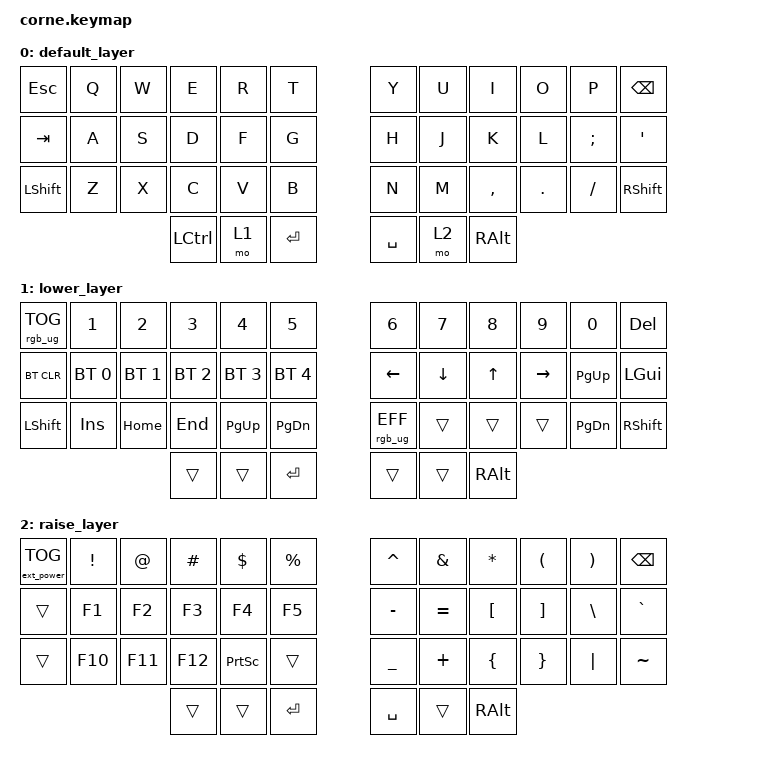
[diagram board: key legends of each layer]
/*
 * Copyright (c) 2020 The ZMK Contributors
 *
 * SPDX-License-Identifier: MIT
 */

#include <behaviors.dtsi>
#include <dt-bindings/zmk/bt.h>
#include <dt-bindings/zmk/ext_power.h>
#include <dt-bindings/zmk/keys.h>
#include <dt-bindings/zmk/keys.h>
#include <dt-bindings/zmk/rgb.h>

&led_strip { chain-length = <27>; };

/ {
    combos {
        compatible = "zmk,combos";

        combo_win_L {
            bindings = <&kt LG(L)>;
            layers = <1>;
            key-positions = <23 21>;
        };

        combo_win_shift_s {
            bindings = <&kp LS(LG(S))>;
            key-positions = <23 14>;
            layers = <1>;
            timeout-ms = <50>;
        };
    };

    keymap {
        compatible = "zmk,keymap";

        default_layer {
            // -----------------------------------------------------------------------------------------
            // |  ESC |  Q  |  W  |  E  |  R  |  T  |   |  Y  |  U   |  I  |  O  |  P  | BKSP |
            // | TAB  |  A  |  S  |  D  |  F  |  G  |   |  H  |  J   |  K  |  L  |  ;  | ' |
            // |LSHFT |  Z  |  X  |  C  |  V  |  B  |   |  N  |  M   |  ,  |  .  |  /  | RSHIFT  |
            //                    |LCTRL| LWR |ENTER|   |SPACE| RSE  | ALT |

            bindings = <
&kp ESCAPE  &kp Q  &kp W  &kp E      &kp R  &kp T        &kp Y      &kp U  &kp I      &kp O    &kp P     &kp BSPC
&kp TAB     &kp A  &kp S  &kp D      &kp F  &kp G        &kp H      &kp J  &kp K      &kp L    &kp SEMI  &kp SINGLE_QUOTE
&kp LSHFT   &kp Z  &kp X  &kp C      &kp V  &kp B        &kp N      &kp M  &kp COMMA  &kp DOT  &kp FSLH  &kp RSHIFT
                          &kp LCTRL  &mo 1  &kp ENTER    &kp SPACE  &mo 2  &kp RALT
            >;
        };

        lower_layer {
            // -----------------------------------------------------------------------------------------
            // | RGBTOG |  1  |  2  |  3  |  4  |  5  |   |  6  |  7  |  8  |  9  |  0  | DEL|
            // | BTCLR  | BT1 | BT2 | BT3 | BT4 | BT5 |   | LFT | DWN |  UP | RGT |     | LGUI  |
            // | SHFT   |     |     |     |     |     |   |     |     |     |     |     |SHFT|
            //                    |LCTRL|     | RET |   |SPACE|     | ALT |

            bindings = <
&rgb_ug RGB_TOG  &kp N1        &kp N2        &kp N3        &kp N4        &kp N5           &kp N6           &kp N7    &kp N8    &kp N9     &kp N0         &kp DEL
&bt BT_CLR       &bt BT_SEL 0  &bt BT_SEL 1  &bt BT_SEL 2  &bt BT_SEL 3  &bt BT_SEL 4     &kp LEFT         &kp DOWN  &kp UP    &kp RIGHT  &kp PG_UP      &kp LGUI
&kp LSHFT        &kp INS       &kp HOME      &kp END       &kp PG_UP     &kp PAGE_DOWN    &rgb_ug RGB_EFF  &trans    &trans    &trans     &kp PAGE_DOWN  &kp RSHIFT
                                             &trans        &trans        &kp RET          &trans           &trans    &kp RALT
            >;
        };

        raise_layer {
            // -----------------------------------------------------------------------------------------
            // | ESC  |  !  |  @  |  #  |  $  |  %  |   |  ^  |  &  |  *  |  (  |  )  | BKSP |
            // | CTRL |     |     |     |     |     |   |  -  |  =  |  [  |  ]  |  \  |  `   |
            // | SHFT |     |     |     |     |     |   |  _  |  +  |  {  |  }  | "|" |  ~   |
            //                    |LCTRL|     | ENT |   | SPC |     | ALT |

            bindings = <
&ext_power EP_TOG  &kp EXCL  &kp AT   &kp HASH  &kp DLLR         &kp PRCNT    &kp CARET  &kp AMPS   &kp ASTRK  &kp LPAR  &kp RPAR  &kp BSPC
&trans             &kp F1    &kp F2   &kp F3    &kp F4           &kp F5       &kp MINUS  &kp EQUAL  &kp LBKT   &kp RBKT  &kp BSLH  &kp GRAVE
&trans             &kp F10   &kp F11  &kp F12   &kp PRINTSCREEN  &trans       &kp UNDER  &kp PLUS   &kp LBRC   &kp RBRC  &kp PIPE  &kp TILDE
                                      &trans    &trans           &kp RET      &kp SPACE  &trans     &kp RALT
            >;
        };
    };
};
